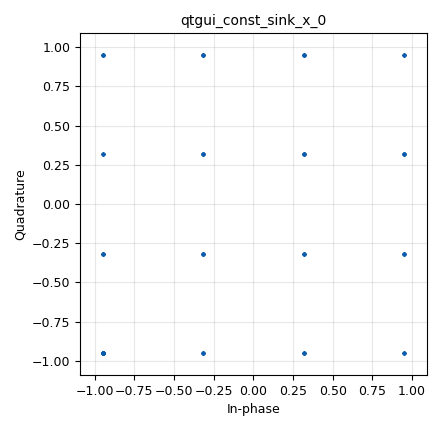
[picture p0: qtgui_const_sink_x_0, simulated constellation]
<?xml version='1.0' encoding='utf-8'?>
<?grc format='1' created='3.7.10'?>
<flow_graph>
<block>
<key>options</key>
<param><key>id</key><value>top_block</value></param>
<param><key>generate_options</key><value>qt_gui</value></param>
</block>
<block>
<key>variable</key>
<param><key>id</key><value>frec</value></param>
<param><key>value</key><value>1.3E6</value></param>
</block>
<block>
<key>variable</key>
<param><key>id</key><value>k</value></param>
<param><key>value</key><value>4</value></param>
</block>
<block>
<key>variable</key>
<param><key>id</key><value>modulation</value></param>
<param><key>value</key><value>16</value></param>
</block>
<block>
<key>variable</key>
<param><key>id</key><value>samp_rate</value></param>
<param><key>value</key><value>1E6</value></param>
</block>
<block>
<key>analog_const_source_x</key>
<param><key>id</key><value>analog_const_source_x_0</value></param>
<param><key>const</key><value>0.31622</value></param>
<param><key>type</key><value>complex</value></param>
</block>
<block>
<key>analog_random_source_x</key>
<param><key>id</key><value>analog_random_source_x_0</value></param>
<param><key>max</key><value>modulation</value></param>
<param><key>min</key><value>0</value></param>
<param><key>num_samps</key><value>4000</value></param>
<param><key>type</key><value>byte</value></param>
<param><key>repeat</key><value>True</value></param>
</block>
<block>
<key>blocks_multiply_xx</key>
<param><key>id</key><value>blocks_multiply_xx_0</value></param>
<param><key>type</key><value>complex</value></param>
</block>
<block>
<key>blocks_packed_to_unpacked_xx</key>
<param><key>id</key><value>blocks_packed_to_unpacked_xx_0</value></param>
<param><key>bits_per_chunk</key><value>k</value></param>
<param><key>endianness</key><value>gr.GR_LSB_FIRST</value></param>
<param><key>type</key><value>byte</value></param>
</block>
<block>
<key>blocks_throttle</key>
<param><key>id</key><value>blocks_throttle_0</value></param>
<param><key>samples_per_second</key><value>samp_rate</value></param>
<param><key>type</key><value>complex</value></param>
</block>
<block>
<key>digital_chunks_to_symbols_xx</key>
<param><key>id</key><value>digital_chunks_to_symbols_xx_0</value></param>
<param><key>dimension</key><value>1</value></param>
<param><key>in_type</key><value>byte</value></param>
<param><key>out_type</key><value>complex</value></param>
<param><key>symbol_table</key><value>[-3-3j,-3-1j,-3+3j,-3+1j,-1-3j,-1-1j,-1+3j,-1+1j,3-3j,3-1j,3+3j,3+1j,1-3j,1-1j,1+3j,1+1j]</value></param>
</block>
<block>
<key>qtgui_const_sink_x</key>
<param><key>id</key><value>qtgui_const_sink_x_0</value></param>
<param><key>autoscale</key><value>True</value></param>
<param><key>grid</key><value>True</value></param>
<param><key>size</key><value>1024</value></param>
<param><key>type</key><value>complex</value></param>
</block>
<connection><source_block_id>analog_const_source_x_0</source_block_id><sink_block_id>blocks_multiply_xx_0</sink_block_id><source_key>0</source_key><sink_key>1</sink_key></connection>
<connection><source_block_id>analog_random_source_x_0</source_block_id><sink_block_id>blocks_packed_to_unpacked_xx_0</sink_block_id><source_key>0</source_key><sink_key>0</sink_key></connection>
<connection><source_block_id>blocks_multiply_xx_0</source_block_id><sink_block_id>blocks_throttle_0</sink_block_id><source_key>0</source_key><sink_key>0</sink_key></connection>
<connection><source_block_id>blocks_packed_to_unpacked_xx_0</source_block_id><sink_block_id>digital_chunks_to_symbols_xx_0</sink_block_id><source_key>0</source_key><sink_key>0</sink_key></connection>
<connection><source_block_id>blocks_throttle_0</source_block_id><sink_block_id>qtgui_const_sink_x_0</sink_block_id><source_key>0</source_key><sink_key>0</sink_key></connection>
<connection><source_block_id>digital_chunks_to_symbols_xx_0</source_block_id><sink_block_id>blocks_multiply_xx_0</sink_block_id><source_key>0</source_key><sink_key>0</sink_key></connection>
</flow_graph>
